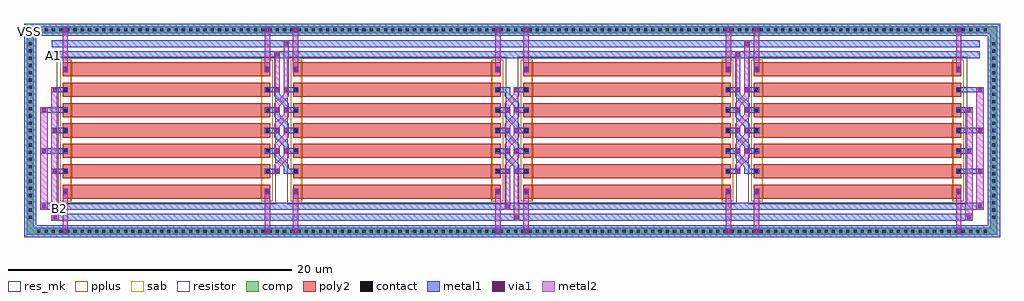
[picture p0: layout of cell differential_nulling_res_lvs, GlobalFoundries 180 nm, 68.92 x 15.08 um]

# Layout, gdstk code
import gdstk
lib = gdstk.Library(unit=1e-6, precision=5e-09)
def R(c, l, rs):  # rectangles x0, y0, x1, y1
    for r in rs: c.add(gdstk.rectangle(r[:2], r[2:], *l))
def A(c, l, x, y, w, h, nx, ny, dx, dy):  # array of equal rectangles
    R(c, l, [(x+i*dx, y+j*dy, x+i*dx+w, y+j*dy+h) for i in range(nx) for j in range(ny)])
comp = (22, 0)
poly2 = (30, 0)
pplus = (31, 0)
contact = (33, 0)
metal1 = (34, 0)
via1 = (35, 0)
metal2 = (36, 0)
sab = (49, 0)
resistor = (62, 0)
res_mk = (110, 5)

res_13p37u = lib.new_cell('res_13p37u')
R(res_13p37u, poly2, [(0.4,0.4,15.05,1.4)])
R(res_13p37u, pplus, [(0.22,0.22,1.04,1.58), (14.41,0.22,15.23,1.58)])
R(res_13p37u, contact, [(0.47,0.79,0.69,1.01), (14.76,0.79,14.98,1.01)])
R(res_13p37u, metal1, [(0.39,0.71,0.77,1.09), (14.68,0.71,15.06,1.09)])
R(res_13p37u, sab, [(0.94,0.12,14.51,1.68)])
R(res_13p37u, resistor, [(0,0,15.45,1.8)])
R(res_13p37u, res_mk, [(1.04,0.4,14.41,1.4)])

differential_nulling_res = lib.new_cell('differential_nulling_res_lvs')
R(differential_nulling_res, pplus, [(-4.235,-4.015,-3.415,5.985), (9.955,-4.015,10.775,5.985), (12.035,-4.015,12.855,5.985), (26.225,-4.015,27.045,5.985), (28.305,-4.015,29.125,5.985), (42.495,-4.015,43.315,5.985), (44.575,-4.015,45.395,5.985), (58.765,-4.015,59.585,5.985)])
A(differential_nulling_res, contact, -5.84, -6.235, 0.22, 0.22, 132, 2, 0.51, 14.22)
A(differential_nulling_res, contact, -6.465, -5.245, 0.22, 0.22, 1, 25, 0, 0.51)
A(differential_nulling_res, contact, 61.595, -5.245, 0.22, 0.22, 1, 25, 0, 0.51)
A(differential_nulling_res, metal1, 11.545, -2.085, 0.38, 0.38, 1, 3, 0, 1.44)
A(differential_nulling_res, metal1, 27.815, -2.085, 0.38, 0.38, 1, 3, 0, 1.44)
A(differential_nulling_res, metal1, 44.085, -2.085, 0.38, 0.38, 1, 3, 0, 1.44)
R(differential_nulling_res, metal1, [(10.885,-2.085,11.265,-1.705), (10.885,-2.085,11.265,-1.705), (10.885,-2.085,11.265,-1.705), (27.155,-2.085,27.535,-1.705), (27.155,-2.085,27.535,-1.705), (27.155,-2.085,27.535,-1.705), (27.815,-2.085,28.195,-1.705), (43.425,-2.085,43.805,-1.705), (43.425,-2.085,43.805,-1.705), (43.425,-2.085,43.805,-1.705), (10.885,-0.645,11.265,-0.265), (10.885,-0.645,11.265,-0.265), (27.155,-0.645,27.535,-0.265), (27.155,-0.645,27.535,-0.265), (43.425,-0.645,43.805,-0.265), (43.425,-0.645,43.805,-0.265), (10.885,0.795,11.265,1.175), (10.885,0.795,11.265,1.175), (10.885,0.795,11.265,1.175), (11.545,0.795,11.925,1.175), (27.155,0.795,27.535,1.175), (27.155,0.795,27.535,1.175), (27.155,0.795,27.535,1.175), (27.815,0.795,28.195,1.175), (43.425,0.795,43.805,1.175), (43.425,0.795,43.805,1.175), (43.425,0.795,43.805,1.175), (44.085,0.795,44.465,1.175), (10.885,2.235,11.265,2.615), (10.885,2.235,11.265,2.615), (10.885,2.235,11.265,2.615), (10.885,2.235,11.265,2.615), (11.545,2.235,11.925,2.615), (11.545,2.235,11.925,2.615), (11.545,2.235,11.925,2.615), (27.155,2.235,27.535,2.615), (27.155,2.235,27.535,2.615), (27.155,2.235,27.535,2.615), (27.155,2.235,27.535,2.615), (27.815,2.235,28.195,2.615), (27.815,2.235,28.195,2.615), (27.815,2.235,28.195,2.615), (43.425,2.235,43.805,2.615), (43.425,2.235,43.805,2.615), (43.425,2.235,43.805,2.615), (43.425,2.235,43.805,2.615), (44.085,2.235,44.465,2.615), (44.085,2.235,44.465,2.615), (44.085,2.235,44.465,2.615), (10.885,3.675,11.265,4.055), (11.545,3.675,11.925,4.055), (27.155,3.675,27.535,4.055), (27.815,3.675,28.195,4.055), (43.425,3.675,43.805,4.055), (44.085,3.675,44.465,4.055)])
A(differential_nulling_res, via1, -4.725, -2.025, 0.26, 0.26, 1, 3, 0, 2.88)
A(differential_nulling_res, via1, 27.875, -2.025, 0.26, 0.26, 1, 3, 0, 1.44)
A(differential_nulling_res, via1, 60.595, -2.025, 0.26, 0.26, 1, 3, 0, 2.88)
R(differential_nulling_res, via1, [(-4.005,-6.255,-3.745,-5.995), (10.285,-6.255,10.545,-5.995), (12.265,-6.255,12.525,-5.995), (26.555,-6.255,26.815,-5.995), (28.535,-6.255,28.795,-5.995), (42.825,-6.255,43.085,-5.995), (44.805,-6.255,45.065,-5.995), (59.095,-6.255,59.355,-5.995), (-4.73,-5.275,-4.47,-5.015), (27.875,-5.275,28.135,-5.015), (59.82,-5.275,60.08,-5.015), (-5.505,-4.495,-5.245,-4.235), (27.215,-4.495,27.475,-4.235), (60.595,-4.495,60.855,-4.235), (-4.005,-3.465,-3.745,-3.205), (10.285,-3.465,10.545,-3.205), (12.265,-3.465,12.525,-3.205), (26.555,-3.465,26.815,-3.205), (28.535,-3.465,28.795,-3.205), (42.825,-3.465,43.085,-3.205), (44.805,-3.465,45.065,-3.205), (59.095,-3.465,59.355,-3.205), (10.945,-2.025,11.205,-1.765), (10.945,-2.025,11.205,-1.765), (10.945,-2.025,11.205,-1.765), (27.215,-2.025,27.475,-1.765), (27.215,-2.025,27.475,-1.765), (27.215,-2.025,27.475,-1.765), (27.875,-2.025,28.135,-1.765), (27.875,-2.025,28.135,-1.765), (43.485,-2.025,43.745,-1.765), (43.485,-2.025,43.745,-1.765), (43.485,-2.025,43.745,-1.765), (-5.505,-0.585,-5.245,-0.325), (10.945,-0.585,11.205,-0.325), (10.945,-0.585,11.205,-0.325), (11.605,-0.585,11.865,-0.325), (27.215,-0.585,27.475,-0.325), (27.215,-0.585,27.475,-0.325), (43.485,-0.585,43.745,-0.325), (43.485,-0.585,43.745,-0.325), (44.145,-0.585,44.405,-0.325), (59.815,-0.585,60.075,-0.325), (10.945,0.855,11.205,1.115), (10.945,0.855,11.205,1.115), (10.945,0.855,11.205,1.115), (11.605,0.855,11.865,1.115), (11.605,0.855,11.865,1.115), (27.215,0.855,27.475,1.115), (27.215,0.855,27.475,1.115), (27.215,0.855,27.475,1.115), (27.875,0.855,28.135,1.115), (43.485,0.855,43.745,1.115), (43.485,0.855,43.745,1.115), (43.485,0.855,43.745,1.115), (44.145,0.855,44.405,1.115), (44.145,0.855,44.405,1.115), (-5.505,2.295,-5.245,2.555), (10.945,2.295,11.205,2.555), (10.945,2.295,11.205,2.555), (10.945,2.295,11.205,2.555), (10.945,2.295,11.205,2.555), (11.605,2.295,11.865,2.555), (11.605,2.295,11.865,2.555), (11.605,2.295,11.865,2.555), (27.215,2.295,27.475,2.555), (27.215,2.295,27.475,2.555), (27.215,2.295,27.475,2.555), (27.215,2.295,27.475,2.555), (27.875,2.295,28.135,2.555), (27.875,2.295,28.135,2.555), (27.875,2.295,28.135,2.555), (43.485,2.295,43.745,2.555), (43.485,2.295,43.745,2.555), (43.485,2.295,43.745,2.555), (43.485,2.295,43.745,2.555), (44.145,2.295,44.405,2.555), (44.145,2.295,44.405,2.555), (44.145,2.295,44.405,2.555), (59.815,2.295,60.075,2.555), (10.945,3.735,11.205,3.995), (11.605,3.735,11.865,3.995), (27.875,3.735,28.135,3.995), (43.485,3.735,43.745,3.995), (44.145,3.735,44.405,3.995), (-4.005,5.175,-3.745,5.435), (10.285,5.175,10.545,5.435), (12.265,5.175,12.525,5.435), (26.555,5.175,26.815,5.435), (28.535,5.175,28.795,5.435), (42.825,5.175,43.085,5.435), (44.805,5.175,45.065,5.435), (59.095,5.175,59.355,5.435), (10.945,6.205,11.205,6.465), (43.485,6.205,43.745,6.465), (11.605,6.985,11.865,7.245), (44.145,6.985,44.405,7.245), (-4.005,7.965,-3.745,8.225), (10.285,7.965,10.545,8.225), (12.265,7.965,12.525,8.225), (26.555,7.965,26.815,8.225), (28.535,7.965,28.795,8.225), (42.825,7.965,43.085,8.225), (44.805,7.965,45.065,8.225), (59.095,7.965,59.355,8.225)])
differential_nulling_res.add(gdstk.FlexPath([(43.145,-0.455),(43.425,-0.455)], 0.38, ends="flush", simple_path=True, layer=34, datatype=0))  # metal1
differential_nulling_res.add(gdstk.FlexPath([(44.275,-0.645),(44.275,-0.065),(43.615,0.595),(43.615,1.175)], 0.38, ends="flush", simple_path=True, layer=34, datatype=0))  # metal1
differential_nulling_res.add(gdstk.FlexPath([(44.465,-0.455),(44.745,-0.455)], 0.38, ends="flush", simple_path=True, layer=34, datatype=0))  # metal1
differential_nulling_res.add(gdstk.FlexPath([(43.145,0.985),(43.425,0.985)], 0.38, ends="flush", simple_path=True, layer=34, datatype=0))  # metal1
differential_nulling_res.add(gdstk.FlexPath([(43.145,0.985),(43.425,0.985)], 0.38, ends="flush", simple_path=True, layer=34, datatype=0))  # metal1
differential_nulling_res.add(gdstk.FlexPath([(44.465,0.985),(44.745,0.985)], 0.38, ends="flush", simple_path=True, layer=34, datatype=0))  # metal1
differential_nulling_res.add(gdstk.FlexPath([(44.465,0.985),(44.745,0.985)], 0.38, ends="flush", simple_path=True, layer=34, datatype=0))  # metal1
differential_nulling_res.add(gdstk.FlexPath([(44.275,-2.085),(44.275,-1.505),(43.615,-0.845),(43.615,-0.265)], 0.38, ends="flush", simple_path=True, layer=34, datatype=0))  # metal1
differential_nulling_res.add(gdstk.FlexPath([(44.465,0.985),(44.745,0.985)], 0.38, ends="flush", simple_path=True, layer=34, datatype=0))  # metal1
differential_nulling_res.add(gdstk.FlexPath([(43.145,-1.895),(43.425,-1.895)], 0.38, ends="flush", simple_path=True, layer=34, datatype=0))  # metal1
differential_nulling_res.add(gdstk.FlexPath([(44.465,0.985),(44.745,0.985)], 0.38, ends="flush", simple_path=True, layer=34, datatype=0))  # metal1
differential_nulling_res.add(gdstk.FlexPath([(44.465,-1.895),(44.745,-1.895)], 0.38, ends="flush", simple_path=True, layer=34, datatype=0))  # metal1
differential_nulling_res.add(gdstk.FlexPath([(43.145,-0.455),(43.425,-0.455)], 0.38, ends="flush", simple_path=True, layer=34, datatype=0))  # metal1
differential_nulling_res.add(gdstk.FlexPath([(43.145,-0.455),(43.425,-0.455)], 0.38, ends="flush", simple_path=True, layer=34, datatype=0))  # metal1
differential_nulling_res.add(gdstk.FlexPath([(44.465,-0.455),(44.745,-0.455)], 0.38, ends="flush", simple_path=True, layer=34, datatype=0))  # metal1
differential_nulling_res.add(gdstk.FlexPath([(44.465,-0.455),(44.745,-0.455)], 0.38, ends="flush", simple_path=True, layer=34, datatype=0))  # metal1
differential_nulling_res.add(gdstk.FlexPath([(43.145,0.985),(43.425,0.985)], 0.38, ends="flush", simple_path=True, layer=34, datatype=0))  # metal1
differential_nulling_res.add(gdstk.FlexPath([(43.145,0.985),(43.425,0.985)], 0.38, ends="flush", simple_path=True, layer=34, datatype=0))  # metal1
differential_nulling_res.add(gdstk.FlexPath([(44.465,2.425),(44.745,2.425)], 0.38, ends="flush", simple_path=True, layer=34, datatype=0))  # metal1
differential_nulling_res.add(gdstk.FlexPath([(44.465,2.425),(44.745,2.425)], 0.38, ends="flush", simple_path=True, layer=34, datatype=0))  # metal1
differential_nulling_res.add(gdstk.FlexPath([(43.145,2.425),(43.425,2.425)], 0.38, ends="flush", simple_path=True, layer=34, datatype=0))  # metal1
differential_nulling_res.add(gdstk.FlexPath([(43.145,2.425),(43.425,2.425)], 0.38, ends="flush", simple_path=True, layer=34, datatype=0))  # metal1
differential_nulling_res.add(gdstk.FlexPath([(44.465,0.985),(44.745,0.985)], 0.38, ends="flush", simple_path=True, layer=34, datatype=0))  # metal1
differential_nulling_res.add(gdstk.FlexPath([(43.145,0.985),(43.425,0.985)], 0.38, ends="flush", simple_path=True, layer=34, datatype=0))  # metal1
differential_nulling_res.add(gdstk.FlexPath([(44.275,0.795),(44.275,1.375),(43.615,2.035),(43.615,2.615)], 0.38, ends="flush", simple_path=True, layer=34, datatype=0))  # metal1
differential_nulling_res.add(gdstk.FlexPath([(43.145,-1.895),(43.425,-1.895)], 0.38, ends="flush", simple_path=True, layer=34, datatype=0))  # metal1
differential_nulling_res.add(gdstk.FlexPath([(44.465,-1.895),(44.745,-1.895)], 0.38, ends="flush", simple_path=True, layer=34, datatype=0))  # metal1
differential_nulling_res.add(gdstk.FlexPath([(43.145,2.425),(43.425,2.425)], 0.38, ends="flush", simple_path=True, layer=34, datatype=0))  # metal1
differential_nulling_res.add(gdstk.FlexPath([(43.145,2.425),(43.425,2.425)], 0.38, ends="flush", simple_path=True, layer=34, datatype=0))  # metal1
differential_nulling_res.add(gdstk.FlexPath([(44.465,2.425),(44.745,2.425)], 0.38, ends="flush", simple_path=True, layer=34, datatype=0))  # metal1
differential_nulling_res.add(gdstk.FlexPath([(43.145,-1.895),(43.425,-1.895)], 0.38, ends="flush", simple_path=True, layer=34, datatype=0))  # metal1
differential_nulling_res.add(gdstk.FlexPath([(43.145,-1.895),(43.425,-1.895)], 0.38, ends="flush", simple_path=True, layer=34, datatype=0))  # metal1
differential_nulling_res.add(gdstk.FlexPath([(44.465,-1.895),(44.745,-1.895)], 0.38, ends="flush", simple_path=True, layer=34, datatype=0))  # metal1
differential_nulling_res.add(gdstk.FlexPath([(44.465,-1.895),(44.745,-1.895)], 0.38, ends="flush", simple_path=True, layer=34, datatype=0))  # metal1
differential_nulling_res.add(gdstk.FlexPath([(44.465,2.425),(44.745,2.425)], 0.38, ends="flush", simple_path=True, layer=34, datatype=0))  # metal1
differential_nulling_res.add(gdstk.FlexPath([(44.465,2.425),(44.745,2.425)], 0.38, ends="flush", simple_path=True, layer=34, datatype=0))  # metal1
differential_nulling_res.add(gdstk.FlexPath([(44.465,2.425),(44.745,2.425)], 0.38, ends="flush", simple_path=True, layer=34, datatype=0))  # metal1
differential_nulling_res.add(gdstk.FlexPath([(43.145,2.425),(43.425,2.425)], 0.38, ends="flush", simple_path=True, layer=34, datatype=0))  # metal1
differential_nulling_res.add(gdstk.FlexPath([(43.145,2.425),(43.425,2.425)], 0.38, ends="flush", simple_path=True, layer=34, datatype=0))  # metal1
differential_nulling_res.add(gdstk.FlexPath([(44.465,3.865),(44.745,3.865)], 0.38, ends="flush", simple_path=True, layer=34, datatype=0))  # metal1
differential_nulling_res.add(gdstk.FlexPath([(44.465,3.865),(44.745,3.865)], 0.38, ends="flush", simple_path=True, layer=34, datatype=0))  # metal1
differential_nulling_res.add(gdstk.FlexPath([(43.145,3.865),(43.425,3.865)], 0.38, ends="flush", simple_path=True, layer=34, datatype=0))  # metal1
differential_nulling_res.add(gdstk.FlexPath([(43.145,3.865),(43.425,3.865)], 0.38, ends="flush", simple_path=True, layer=34, datatype=0))  # metal1
differential_nulling_res.add(gdstk.FlexPath([(44.465,2.425),(44.745,2.425)], 0.38, ends="flush", simple_path=True, layer=34, datatype=0))  # metal1
differential_nulling_res.add(gdstk.FlexPath([(43.145,2.425),(43.425,2.425)], 0.38, ends="flush", simple_path=True, layer=34, datatype=0))  # metal1
differential_nulling_res.add(gdstk.FlexPath([(44.275,2.235),(44.275,2.815),(43.615,3.475),(43.615,4.055)], 0.38, ends="flush", simple_path=True, layer=34, datatype=0))  # metal1
differential_nulling_res.add(gdstk.FlexPath([(59.415,2.425),(60.195,2.425)], 0.38, ends="flush", simple_path=True, layer=34, datatype=0))  # metal1
differential_nulling_res.add(gdstk.FlexPath([(59.415,0.985),(60.975,0.985)], 0.38, ends="flush", simple_path=True, layer=34, datatype=0))  # metal1
differential_nulling_res.add(gdstk.FlexPath([(59.415,-0.455),(60.195,-0.455)], 0.38, ends="flush", simple_path=True, layer=34, datatype=0))  # metal1
differential_nulling_res.add(gdstk.FlexPath([(59.415,-1.895),(60.975,-1.895)], 0.38, ends="flush", simple_path=True, layer=34, datatype=0))  # metal1
differential_nulling_res.add(gdstk.FlexPath([(-4.065,3.865),(-4.845,3.865)], 0.38, ends="flush", simple_path=True, layer=34, datatype=0))  # metal1
differential_nulling_res.add(gdstk.FlexPath([(-4.065,2.425),(-5.625,2.425)], 0.38, ends="flush", simple_path=True, layer=34, datatype=0))  # metal1
differential_nulling_res.add(gdstk.FlexPath([(-4.065,0.985),(-4.845,0.985)], 0.38, ends="flush", simple_path=True, layer=34, datatype=0))  # metal1
differential_nulling_res.add(gdstk.FlexPath([(-4.065,-0.455),(-5.625,-0.455)], 0.38, ends="flush", simple_path=True, layer=34, datatype=0))  # metal1
differential_nulling_res.add(gdstk.FlexPath([(-4.065,-1.895),(-4.845,-1.895)], 0.38, ends="flush", simple_path=True, layer=34, datatype=0))  # metal1
differential_nulling_res.add(gdstk.FlexPath([(59.415,3.865),(60.975,3.865)], 0.38, ends="flush", simple_path=True, layer=34, datatype=0))  # metal1
differential_nulling_res.add(gdstk.FlexPath([(-5.925,8.095),(61.705,8.095),(61.705,-6.125),(-6.355,-6.125),(-6.355,8.525)], 0.86, ends="flush", simple_path=True, layer=34, datatype=0))  # metal1
differential_nulling_res.add(gdstk.FlexPath([(-5.625,-4.365),(60.975,-4.365)], 0.5, ends="flush", simple_path=True, layer=34, datatype=0))  # metal1
differential_nulling_res.add(gdstk.FlexPath([(-4.845,-5.145),(60.195,-5.145)], 0.5, ends="flush", simple_path=True, layer=34, datatype=0))  # metal1
differential_nulling_res.add(gdstk.FlexPath([(11.735,-0.645),(11.735,-0.065),(11.075,0.595),(11.075,1.175)], 0.38, ends="flush", simple_path=True, layer=34, datatype=0))  # metal1
differential_nulling_res.add(gdstk.FlexPath([(10.605,-0.455),(10.885,-0.455)], 0.38, ends="flush", simple_path=True, layer=34, datatype=0))  # metal1
differential_nulling_res.add(gdstk.FlexPath([(11.925,-0.455),(12.205,-0.455)], 0.38, ends="flush", simple_path=True, layer=34, datatype=0))  # metal1
differential_nulling_res.add(gdstk.FlexPath([(10.605,0.985),(10.885,0.985)], 0.38, ends="flush", simple_path=True, layer=34, datatype=0))  # metal1
differential_nulling_res.add(gdstk.FlexPath([(10.605,0.985),(10.885,0.985)], 0.38, ends="flush", simple_path=True, layer=34, datatype=0))  # metal1
differential_nulling_res.add(gdstk.FlexPath([(11.925,0.985),(12.205,0.985)], 0.38, ends="flush", simple_path=True, layer=34, datatype=0))  # metal1
differential_nulling_res.add(gdstk.FlexPath([(11.925,0.985),(12.205,0.985)], 0.38, ends="flush", simple_path=True, layer=34, datatype=0))  # metal1
differential_nulling_res.add(gdstk.FlexPath([(11.735,-2.085),(11.735,-1.505),(11.075,-0.845),(11.075,-0.265)], 0.38, ends="flush", simple_path=True, layer=34, datatype=0))  # metal1
differential_nulling_res.add(gdstk.FlexPath([(11.925,0.985),(12.205,0.985)], 0.38, ends="flush", simple_path=True, layer=34, datatype=0))  # metal1
differential_nulling_res.add(gdstk.FlexPath([(10.605,-1.895),(10.885,-1.895)], 0.38, ends="flush", simple_path=True, layer=34, datatype=0))  # metal1
differential_nulling_res.add(gdstk.FlexPath([(11.925,0.985),(12.205,0.985)], 0.38, ends="flush", simple_path=True, layer=34, datatype=0))  # metal1
differential_nulling_res.add(gdstk.FlexPath([(11.925,-1.895),(12.205,-1.895)], 0.38, ends="flush", simple_path=True, layer=34, datatype=0))  # metal1
differential_nulling_res.add(gdstk.FlexPath([(10.605,-0.455),(10.885,-0.455)], 0.38, ends="flush", simple_path=True, layer=34, datatype=0))  # metal1
differential_nulling_res.add(gdstk.FlexPath([(10.605,-0.455),(10.885,-0.455)], 0.38, ends="flush", simple_path=True, layer=34, datatype=0))  # metal1
differential_nulling_res.add(gdstk.FlexPath([(11.925,-0.455),(12.205,-0.455)], 0.38, ends="flush", simple_path=True, layer=34, datatype=0))  # metal1
differential_nulling_res.add(gdstk.FlexPath([(11.925,-0.455),(12.205,-0.455)], 0.38, ends="flush", simple_path=True, layer=34, datatype=0))  # metal1
differential_nulling_res.add(gdstk.FlexPath([(10.605,0.985),(10.885,0.985)], 0.38, ends="flush", simple_path=True, layer=34, datatype=0))  # metal1
differential_nulling_res.add(gdstk.FlexPath([(10.605,0.985),(10.885,0.985)], 0.38, ends="flush", simple_path=True, layer=34, datatype=0))  # metal1
differential_nulling_res.add(gdstk.FlexPath([(11.925,2.425),(12.205,2.425)], 0.38, ends="flush", simple_path=True, layer=34, datatype=0))  # metal1
differential_nulling_res.add(gdstk.FlexPath([(11.925,2.425),(12.205,2.425)], 0.38, ends="flush", simple_path=True, layer=34, datatype=0))  # metal1
differential_nulling_res.add(gdstk.FlexPath([(10.605,2.425),(10.885,2.425)], 0.38, ends="flush", simple_path=True, layer=34, datatype=0))  # metal1
differential_nulling_res.add(gdstk.FlexPath([(10.605,2.425),(10.885,2.425)], 0.38, ends="flush", simple_path=True, layer=34, datatype=0))  # metal1
differential_nulling_res.add(gdstk.FlexPath([(11.925,0.985),(12.205,0.985)], 0.38, ends="flush", simple_path=True, layer=34, datatype=0))  # metal1
differential_nulling_res.add(gdstk.FlexPath([(10.605,0.985),(10.885,0.985)], 0.38, ends="flush", simple_path=True, layer=34, datatype=0))  # metal1
differential_nulling_res.add(gdstk.FlexPath([(11.735,0.795),(11.735,1.375),(11.075,2.035),(11.075,2.615)], 0.38, ends="flush", simple_path=True, layer=34, datatype=0))  # metal1
differential_nulling_res.add(gdstk.FlexPath([(10.605,-1.895),(10.885,-1.895)], 0.38, ends="flush", simple_path=True, layer=34, datatype=0))  # metal1
differential_nulling_res.add(gdstk.FlexPath([(11.925,-1.895),(12.205,-1.895)], 0.38, ends="flush", simple_path=True, layer=34, datatype=0))  # metal1
differential_nulling_res.add(gdstk.FlexPath([(10.605,2.425),(10.885,2.425)], 0.38, ends="flush", simple_path=True, layer=34, datatype=0))  # metal1
differential_nulling_res.add(gdstk.FlexPath([(10.605,2.425),(10.885,2.425)], 0.38, ends="flush", simple_path=True, layer=34, datatype=0))  # metal1
differential_nulling_res.add(gdstk.FlexPath([(11.925,2.425),(12.205,2.425)], 0.38, ends="flush", simple_path=True, layer=34, datatype=0))  # metal1
differential_nulling_res.add(gdstk.FlexPath([(10.605,-1.895),(10.885,-1.895)], 0.38, ends="flush", simple_path=True, layer=34, datatype=0))  # metal1
differential_nulling_res.add(gdstk.FlexPath([(10.605,-1.895),(10.885,-1.895)], 0.38, ends="flush", simple_path=True, layer=34, datatype=0))  # metal1
differential_nulling_res.add(gdstk.FlexPath([(11.925,-1.895),(12.205,-1.895)], 0.38, ends="flush", simple_path=True, layer=34, datatype=0))  # metal1
differential_nulling_res.add(gdstk.FlexPath([(11.925,-1.895),(12.205,-1.895)], 0.38, ends="flush", simple_path=True, layer=34, datatype=0))  # metal1
differential_nulling_res.add(gdstk.FlexPath([(11.925,2.425),(12.205,2.425)], 0.38, ends="flush", simple_path=True, layer=34, datatype=0))  # metal1
differential_nulling_res.add(gdstk.FlexPath([(11.925,2.425),(12.205,2.425)], 0.38, ends="flush", simple_path=True, layer=34, datatype=0))  # metal1
differential_nulling_res.add(gdstk.FlexPath([(11.925,2.425),(12.205,2.425)], 0.38, ends="flush", simple_path=True, layer=34, datatype=0))  # metal1
differential_nulling_res.add(gdstk.FlexPath([(10.605,2.425),(10.885,2.425)], 0.38, ends="flush", simple_path=True, layer=34, datatype=0))  # metal1
differential_nulling_res.add(gdstk.FlexPath([(10.605,2.425),(10.885,2.425)], 0.38, ends="flush", simple_path=True, layer=34, datatype=0))  # metal1
differential_nulling_res.add(gdstk.FlexPath([(11.925,3.865),(12.205,3.865)], 0.38, ends="flush", simple_path=True, layer=34, datatype=0))  # metal1
differential_nulling_res.add(gdstk.FlexPath([(11.925,3.865),(12.205,3.865)], 0.38, ends="flush", simple_path=True, layer=34, datatype=0))  # metal1
differential_nulling_res.add(gdstk.FlexPath([(10.605,3.865),(10.885,3.865)], 0.38, ends="flush", simple_path=True, layer=34, datatype=0))  # metal1
differential_nulling_res.add(gdstk.FlexPath([(10.605,3.865),(10.885,3.865)], 0.38, ends="flush", simple_path=True, layer=34, datatype=0))  # metal1
differential_nulling_res.add(gdstk.FlexPath([(11.925,2.425),(12.205,2.425)], 0.38, ends="flush", simple_path=True, layer=34, datatype=0))  # metal1
differential_nulling_res.add(gdstk.FlexPath([(10.605,2.425),(10.885,2.425)], 0.38, ends="flush", simple_path=True, layer=34, datatype=0))  # metal1
differential_nulling_res.add(gdstk.FlexPath([(11.735,2.235),(11.735,2.815),(11.075,3.475),(11.075,4.055)], 0.38, ends="flush", simple_path=True, layer=34, datatype=0))  # metal1
differential_nulling_res.add(gdstk.FlexPath([(26.875,-0.455),(27.155,-0.455)], 0.38, ends="flush", simple_path=True, layer=34, datatype=0))  # metal1
differential_nulling_res.add(gdstk.FlexPath([(28.005,-0.645),(28.005,-0.065),(27.345,0.595),(27.345,1.175)], 0.38, ends="flush", simple_path=True, layer=34, datatype=0))  # metal1
differential_nulling_res.add(gdstk.FlexPath([(28.195,-0.455),(28.475,-0.455)], 0.38, ends="flush", simple_path=True, layer=34, datatype=0))  # metal1
differential_nulling_res.add(gdstk.FlexPath([(26.875,0.985),(27.155,0.985)], 0.38, ends="flush", simple_path=True, layer=34, datatype=0))  # metal1
differential_nulling_res.add(gdstk.FlexPath([(26.875,0.985),(27.155,0.985)], 0.38, ends="flush", simple_path=True, layer=34, datatype=0))  # metal1
differential_nulling_res.add(gdstk.FlexPath([(28.195,0.985),(28.475,0.985)], 0.38, ends="flush", simple_path=True, layer=34, datatype=0))  # metal1
differential_nulling_res.add(gdstk.FlexPath([(28.195,0.985),(28.475,0.985)], 0.38, ends="flush", simple_path=True, layer=34, datatype=0))  # metal1
differential_nulling_res.add(gdstk.FlexPath([(28.005,-2.085),(28.005,-1.505),(27.345,-0.845),(27.345,-0.265)], 0.38, ends="flush", simple_path=True, layer=34, datatype=0))  # metal1
differential_nulling_res.add(gdstk.FlexPath([(28.195,0.985),(28.475,0.985)], 0.38, ends="flush", simple_path=True, layer=34, datatype=0))  # metal1
differential_nulling_res.add(gdstk.FlexPath([(26.875,-1.895),(27.155,-1.895)], 0.38, ends="flush", simple_path=True, layer=34, datatype=0))  # metal1
differential_nulling_res.add(gdstk.FlexPath([(28.195,0.985),(28.475,0.985)], 0.38, ends="flush", simple_path=True, layer=34, datatype=0))  # metal1
differential_nulling_res.add(gdstk.FlexPath([(28.195,-1.895),(28.475,-1.895)], 0.38, ends="flush", simple_path=True, layer=34, datatype=0))  # metal1
differential_nulling_res.add(gdstk.FlexPath([(26.875,-0.455),(27.155,-0.455)], 0.38, ends="flush", simple_path=True, layer=34, datatype=0))  # metal1
differential_nulling_res.add(gdstk.FlexPath([(26.875,-0.455),(27.155,-0.455)], 0.38, ends="flush", simple_path=True, layer=34, datatype=0))  # metal1
differential_nulling_res.add(gdstk.FlexPath([(28.195,-0.455),(28.475,-0.455)], 0.38, ends="flush", simple_path=True, layer=34, datatype=0))  # metal1
differential_nulling_res.add(gdstk.FlexPath([(28.195,-0.455),(28.475,-0.455)], 0.38, ends="flush", simple_path=True, layer=34, datatype=0))  # metal1
differential_nulling_res.add(gdstk.FlexPath([(26.875,0.985),(27.155,0.985)], 0.38, ends="flush", simple_path=True, layer=34, datatype=0))  # metal1
differential_nulling_res.add(gdstk.FlexPath([(26.875,0.985),(27.155,0.985)], 0.38, ends="flush", simple_path=True, layer=34, datatype=0))  # metal1
differential_nulling_res.add(gdstk.FlexPath([(28.195,2.425),(28.475,2.425)], 0.38, ends="flush", simple_path=True, layer=34, datatype=0))  # metal1
differential_nulling_res.add(gdstk.FlexPath([(28.195,2.425),(28.475,2.425)], 0.38, ends="flush", simple_path=True, layer=34, datatype=0))  # metal1
differential_nulling_res.add(gdstk.FlexPath([(26.875,2.425),(27.155,2.425)], 0.38, ends="flush", simple_path=True, layer=34, datatype=0))  # metal1
differential_nulling_res.add(gdstk.FlexPath([(26.875,2.425),(27.155,2.425)], 0.38, ends="flush", simple_path=True, layer=34, datatype=0))  # metal1
differential_nulling_res.add(gdstk.FlexPath([(28.195,0.985),(28.475,0.985)], 0.38, ends="flush", simple_path=True, layer=34, datatype=0))  # metal1
differential_nulling_res.add(gdstk.FlexPath([(26.875,0.985),(27.155,0.985)], 0.38, ends="flush", simple_path=True, layer=34, datatype=0))  # metal1
differential_nulling_res.add(gdstk.FlexPath([(28.005,0.795),(28.005,1.375),(27.345,2.035),(27.345,2.615)], 0.38, ends="flush", simple_path=True, layer=34, datatype=0))  # metal1
differential_nulling_res.add(gdstk.FlexPath([(26.875,-1.895),(27.155,-1.895)], 0.38, ends="flush", simple_path=True, layer=34, datatype=0))  # metal1
differential_nulling_res.add(gdstk.FlexPath([(28.195,-1.895),(28.475,-1.895)], 0.38, ends="flush", simple_path=True, layer=34, datatype=0))  # metal1
differential_nulling_res.add(gdstk.FlexPath([(26.875,2.425),(27.155,2.425)], 0.38, ends="flush", simple_path=True, layer=34, datatype=0))  # metal1
differential_nulling_res.add(gdstk.FlexPath([(26.875,2.425),(27.155,2.425)], 0.38, ends="flush", simple_path=True, layer=34, datatype=0))  # metal1
differential_nulling_res.add(gdstk.FlexPath([(28.195,2.425),(28.475,2.425)], 0.38, ends="flush", simple_path=True, layer=34, datatype=0))  # metal1
differential_nulling_res.add(gdstk.FlexPath([(26.875,-1.895),(27.155,-1.895)], 0.38, ends="flush", simple_path=True, layer=34, datatype=0))  # metal1
differential_nulling_res.add(gdstk.FlexPath([(26.875,-1.895),(27.155,-1.895)], 0.38, ends="flush", simple_path=True, layer=34, datatype=0))  # metal1
differential_nulling_res.add(gdstk.FlexPath([(28.195,-1.895),(28.475,-1.895)], 0.38, ends="flush", simple_path=True, layer=34, datatype=0))  # metal1
differential_nulling_res.add(gdstk.FlexPath([(28.195,-1.895),(28.475,-1.895)], 0.38, ends="flush", simple_path=True, layer=34, datatype=0))  # metal1
differential_nulling_res.add(gdstk.FlexPath([(28.195,2.425),(28.475,2.425)], 0.38, ends="flush", simple_path=True, layer=34, datatype=0))  # metal1
differential_nulling_res.add(gdstk.FlexPath([(28.195,2.425),(28.475,2.425)], 0.38, ends="flush", simple_path=True, layer=34, datatype=0))  # metal1
differential_nulling_res.add(gdstk.FlexPath([(28.195,2.425),(28.475,2.425)], 0.38, ends="flush", simple_path=True, layer=34, datatype=0))  # metal1
differential_nulling_res.add(gdstk.FlexPath([(26.875,2.425),(27.155,2.425)], 0.38, ends="flush", simple_path=True, layer=34, datatype=0))  # metal1
differential_nulling_res.add(gdstk.FlexPath([(26.875,2.425),(27.155,2.425)], 0.38, ends="flush", simple_path=True, layer=34, datatype=0))  # metal1
differential_nulling_res.add(gdstk.FlexPath([(28.195,3.865),(28.475,3.865)], 0.38, ends="flush", simple_path=True, layer=34, datatype=0))  # metal1
differential_nulling_res.add(gdstk.FlexPath([(28.195,3.865),(28.475,3.865)], 0.38, ends="flush", simple_path=True, layer=34, datatype=0))  # metal1
differential_nulling_res.add(gdstk.FlexPath([(26.875,3.865),(27.155,3.865)], 0.38, ends="flush", simple_path=True, layer=34, datatype=0))  # metal1
differential_nulling_res.add(gdstk.FlexPath([(26.875,3.865),(27.155,3.865)], 0.38, ends="flush", simple_path=True, layer=34, datatype=0))  # metal1
differential_nulling_res.add(gdstk.FlexPath([(28.195,2.425),(28.475,2.425)], 0.38, ends="flush", simple_path=True, layer=34, datatype=0))  # metal1
differential_nulling_res.add(gdstk.FlexPath([(26.875,2.425),(27.155,2.425)], 0.38, ends="flush", simple_path=True, layer=34, datatype=0))  # metal1
differential_nulling_res.add(gdstk.FlexPath([(28.005,2.235),(28.005,2.815),(27.345,3.475),(27.345,4.055)], 0.38, ends="flush", simple_path=True, layer=34, datatype=0))  # metal1
differential_nulling_res.add(gdstk.FlexPath([(-4.825,6.335),(60.71,6.335)], 0.5, ends="flush", simple_path=True, layer=34, datatype=0))  # metal1
differential_nulling_res.add(gdstk.FlexPath([(-4.825,7.115),(60.71,7.115)], 0.5, ends="flush", simple_path=True, layer=34, datatype=0))  # metal1
differential_nulling_res.add(gdstk.FlexPath([(-5.925,8.095),(61.705,8.095),(61.705,-6.125),(-6.355,-6.125),(-6.355,8.525)], 0.86, ends="flush", simple_path=True, layer=31, datatype=0))  # pplus
differential_nulling_res.add(gdstk.FlexPath([(-6.105,8.095),(61.705,8.095),(61.705,-6.125),(-6.355,-6.125),(-6.355,8.345)], 0.5, ends="flush", simple_path=True, layer=22, datatype=0))  # comp
differential_nulling_res.add(gdstk.FlexPath([(43.615,-0.645),(43.615,-0.065),(44.275,0.595),(44.275,1.175)], 0.38, ends="flush", simple_path=True, layer=36, datatype=0))  # metal2
differential_nulling_res.add(gdstk.FlexPath([(43.615,-2.085),(43.615,-1.505),(44.275,-0.845),(44.275,-0.265)], 0.38, ends="flush", simple_path=True, layer=36, datatype=0))  # metal2
differential_nulling_res.add(gdstk.FlexPath([(43.615,0.795),(43.615,1.375),(44.275,2.035),(44.275,2.615)], 0.38, ends="flush", simple_path=True, layer=36, datatype=0))  # metal2
differential_nulling_res.add(gdstk.FlexPath([(43.615,2.235),(43.615,2.815),(44.275,3.475),(44.275,4.055)], 0.38, ends="flush", simple_path=True, layer=36, datatype=0))  # metal2
differential_nulling_res.add(gdstk.FlexPath([(43.615,3.675),(43.615,6.585)], 0.38, ends="flush", simple_path=True, layer=36, datatype=0))  # metal2
differential_nulling_res.add(gdstk.FlexPath([(44.275,4.055),(44.275,7.365)], 0.38, ends="flush", simple_path=True, layer=36, datatype=0))  # metal2
differential_nulling_res.add(gdstk.FlexPath([(-4.595,4.055),(-4.595,-5.395)], 0.5, ends="flush", simple_path=True, layer=36, datatype=0))  # metal2
differential_nulling_res.add(gdstk.FlexPath([(-5.375,2.615),(-5.375,-4.615)], 0.5, ends="flush", simple_path=True, layer=36, datatype=0))  # metal2
differential_nulling_res.add(gdstk.FlexPath([(11.075,3.675),(11.075,6.585)], 0.38, ends="flush", simple_path=True, layer=36, datatype=0))  # metal2
differential_nulling_res.add(gdstk.FlexPath([(27.345,-2.085),(27.345,-4.615)], 0.38, ends="flush", simple_path=True, layer=36, datatype=0))  # metal2
differential_nulling_res.add(gdstk.FlexPath([(28.005,-1.705),(28.005,-5.395)], 0.38, ends="flush", simple_path=True, layer=36, datatype=0))  # metal2
differential_nulling_res.add(gdstk.FlexPath([(59.945,2.615),(59.945,-5.395)], 0.5, ends="flush", simple_path=True, layer=36, datatype=0))  # metal2
differential_nulling_res.add(gdstk.FlexPath([(60.725,4.055),(60.725,-4.615)], 0.5, ends="flush", simple_path=True, layer=36, datatype=0))  # metal2
differential_nulling_res.add(gdstk.FlexPath([(44.935,5.115),(44.935,8.235)], 0.38, ends="flush", simple_path=True, layer=36, datatype=0))  # metal2
differential_nulling_res.add(gdstk.FlexPath([(42.955,5.115),(42.955,8.235)], 0.38, ends="flush", simple_path=True, layer=36, datatype=0))  # metal2
differential_nulling_res.add(gdstk.FlexPath([(28.665,5.115),(28.665,8.235)], 0.38, ends="flush", simple_path=True, layer=36, datatype=0))  # metal2
differential_nulling_res.add(gdstk.FlexPath([(26.685,5.115),(26.685,8.235)], 0.38, ends="flush", simple_path=True, layer=36, datatype=0))  # metal2
differential_nulling_res.add(gdstk.FlexPath([(-3.875,5.115),(-3.875,8.235)], 0.38, ends="flush", simple_path=True, layer=36, datatype=0))  # metal2
differential_nulling_res.add(gdstk.FlexPath([(12.395,5.115),(12.395,8.235)], 0.38, ends="flush", simple_path=True, layer=36, datatype=0))  # metal2
differential_nulling_res.add(gdstk.FlexPath([(10.415,5.115),(10.415,8.235)], 0.38, ends="flush", simple_path=True, layer=36, datatype=0))  # metal2
differential_nulling_res.add(gdstk.FlexPath([(12.395,-3.145),(12.395,-6.265)], 0.38, ends="flush", simple_path=True, layer=36, datatype=0))  # metal2
differential_nulling_res.add(gdstk.FlexPath([(10.415,-3.145),(10.415,-6.265)], 0.38, ends="flush", simple_path=True, layer=36, datatype=0))  # metal2
differential_nulling_res.add(gdstk.FlexPath([(28.665,-3.145),(28.665,-6.265)], 0.38, ends="flush", simple_path=True, layer=36, datatype=0))  # metal2
differential_nulling_res.add(gdstk.FlexPath([(26.685,-3.145),(26.685,-6.265)], 0.38, ends="flush", simple_path=True, layer=36, datatype=0))  # metal2
differential_nulling_res.add(gdstk.FlexPath([(44.935,-3.145),(44.935,-6.265)], 0.38, ends="flush", simple_path=True, layer=36, datatype=0))  # metal2
differential_nulling_res.add(gdstk.FlexPath([(42.955,-3.145),(42.955,-6.265)], 0.38, ends="flush", simple_path=True, layer=36, datatype=0))  # metal2
differential_nulling_res.add(gdstk.FlexPath([(59.225,-3.145),(59.225,-6.265)], 0.38, ends="flush", simple_path=True, layer=36, datatype=0))  # metal2
differential_nulling_res.add(gdstk.FlexPath([(-3.875,-3.145),(-3.875,-6.265)], 0.38, ends="flush", simple_path=True, layer=36, datatype=0))  # metal2
differential_nulling_res.add(gdstk.FlexPath([(59.225,5.115),(59.225,8.235)], 0.38, ends="flush", simple_path=True, layer=36, datatype=0))  # metal2
differential_nulling_res.add(gdstk.FlexPath([(11.735,4.055),(11.735,7.365)], 0.38, ends="flush", simple_path=True, layer=36, datatype=0))  # metal2
differential_nulling_res.add(gdstk.FlexPath([(11.075,-0.645),(11.075,-0.065),(11.735,0.595),(11.735,1.175)], 0.38, ends="flush", simple_path=True, layer=36, datatype=0))  # metal2
differential_nulling_res.add(gdstk.FlexPath([(11.075,-2.085),(11.075,-1.505),(11.735,-0.845),(11.735,-0.265)], 0.38, ends="flush", simple_path=True, layer=36, datatype=0))  # metal2
differential_nulling_res.add(gdstk.FlexPath([(11.075,0.795),(11.075,1.375),(11.735,2.035),(11.735,2.615)], 0.38, ends="flush", simple_path=True, layer=36, datatype=0))  # metal2
differential_nulling_res.add(gdstk.FlexPath([(11.075,2.235),(11.075,2.815),(11.735,3.475),(11.735,4.055)], 0.38, ends="flush", simple_path=True, layer=36, datatype=0))  # metal2
differential_nulling_res.add(gdstk.FlexPath([(27.345,-0.645),(27.345,-0.065),(28.005,0.595),(28.005,1.175)], 0.38, ends="flush", simple_path=True, layer=36, datatype=0))  # metal2
differential_nulling_res.add(gdstk.FlexPath([(27.345,-2.085),(27.345,-1.505),(28.005,-0.845),(28.005,-0.265)], 0.38, ends="flush", simple_path=True, layer=36, datatype=0))  # metal2
differential_nulling_res.add(gdstk.FlexPath([(27.345,0.795),(27.345,1.375),(28.005,2.035),(28.005,2.615)], 0.38, ends="flush", simple_path=True, layer=36, datatype=0))  # metal2
differential_nulling_res.add(gdstk.FlexPath([(27.345,2.235),(27.345,2.815),(28.005,3.475),(28.005,4.055)], 0.38, ends="flush", simple_path=True, layer=36, datatype=0))  # metal2
differential_nulling_res.add(gdstk.Reference(res_13p37u, (-4.455,4.405)))
differential_nulling_res.add(gdstk.Reference(res_13p37u, (11.815,4.405)))
differential_nulling_res.add(gdstk.Reference(res_13p37u, (-4.455,2.965)))
differential_nulling_res.add(gdstk.Reference(res_13p37u, (11.815,2.965)))
differential_nulling_res.add(gdstk.Reference(res_13p37u, (11.815,1.525)))
differential_nulling_res.add(gdstk.Reference(res_13p37u, (-4.455,1.525)))
differential_nulling_res.add(gdstk.Reference(res_13p37u, (11.815,0.085)))
differential_nulling_res.add(gdstk.Reference(res_13p37u, (-4.455,-1.355)))
differential_nulling_res.add(gdstk.Reference(res_13p37u, (11.815,-1.355)))
differential_nulling_res.add(gdstk.Reference(res_13p37u, (-4.455,0.085)))
differential_nulling_res.add(gdstk.Reference(res_13p37u, (-4.455,-2.795)))
differential_nulling_res.add(gdstk.Reference(res_13p37u, (11.815,-2.795)))
differential_nulling_res.add(gdstk.Reference(res_13p37u, (-4.455,-4.235)))
differential_nulling_res.add(gdstk.Reference(res_13p37u, (11.815,-4.235)))
differential_nulling_res.add(gdstk.Reference(res_13p37u, (28.085,-4.235)))
differential_nulling_res.add(gdstk.Reference(res_13p37u, (28.085,-2.795)))
differential_nulling_res.add(gdstk.Reference(res_13p37u, (28.085,-1.355)))
differential_nulling_res.add(gdstk.Reference(res_13p37u, (28.085,0.085)))
differential_nulling_res.add(gdstk.Reference(res_13p37u, (28.085,1.525)))
differential_nulling_res.add(gdstk.Reference(res_13p37u, (28.085,2.965)))
differential_nulling_res.add(gdstk.Reference(res_13p37u, (28.085,4.405)))
differential_nulling_res.add(gdstk.Reference(res_13p37u, (44.355,-4.235)))
differential_nulling_res.add(gdstk.Reference(res_13p37u, (44.355,-2.795)))
differential_nulling_res.add(gdstk.Reference(res_13p37u, (44.355,-1.355)))
differential_nulling_res.add(gdstk.Reference(res_13p37u, (44.355,0.085)))
differential_nulling_res.add(gdstk.Reference(res_13p37u, (44.355,1.525)))
differential_nulling_res.add(gdstk.Reference(res_13p37u, (44.355,2.965)))
differential_nulling_res.add(gdstk.Reference(res_13p37u, (44.355,4.405)))
differential_nulling_res.add(gdstk.Label('VSS', (-6.42,7.955), layer=34, texttype=10))
differential_nulling_res.add(gdstk.Label('A1', (-4.725,6.27), layer=34, texttype=10))
differential_nulling_res.add(gdstk.Label('A2', (-4.755,6.97), layer=34, texttype=10))
differential_nulling_res.add(gdstk.Label('B2', (-4.245,-4.555), layer=34, texttype=10))
differential_nulling_res.add(gdstk.Label('B1', (-4.16,-5.28), layer=34, texttype=10))

lib.write_gds('differential_nulling_res_lvs.gds')
